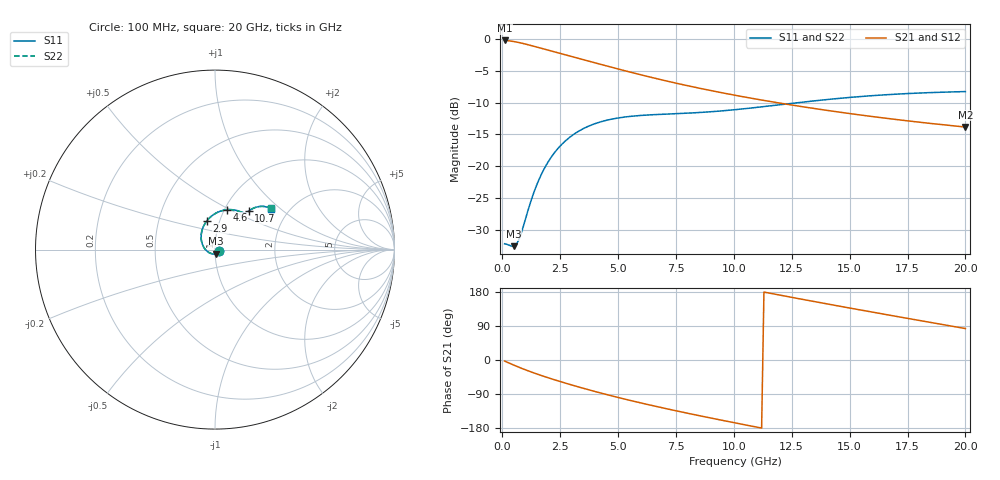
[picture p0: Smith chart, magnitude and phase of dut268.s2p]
! Touchstone file exported from HFSS 2023.1.0
!  File:  D:/Users/fzz/RDL_TSV/temp_RDL_TSV_268_1778761477.aedt
!  Generated:  8:39:13 %x4E0B%x5348  5%x6708 14, 2026
!  Design:  RDL_TSV
!  Project:  temp_RDL_TSV_268_1778761477
!  Setup:  Setup1
!  Solution:  Sweep
! Variables:
!  dtsv = 17.69um
!  hbump = 3um
!  htsv = 97.35um
!  ldown = 556.04um
!  lrdl = 457.15um
!  p = 40
!  p1 = 57.31um
!  rhole = 10um
!  subl = 3496.72um
!  t = 450um
!  tdown = 2.38um
!  trdl = 2.77um
!  viad = 10um
!  wdown = 22.89um
!  wrdl = 16.55um
!  xbump = 18um
# GHz S MA R 50.000000
! Terminal data exported
! Port[1] = TM1_1_T1
! Port[2] = TM1_4_T1
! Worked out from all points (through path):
!   200 points, 100 MHz to 20 GHz, reference 50 ohm
!   highest |S21| = -0.23 dB at 100 MHz (marker M1); lowest = -13.8 dB at 20 GHz (marker M2)
!   group delay of S21, straight-line fit = 36 ps
!   lowest |S11| = -32.6 dB at 500 MHz (marker M3), VSWR 1.05, Z = 50.6 - j2.27 ohm
!   |S11| at or under -10 dB: start of sweep to 12.81 GHz
!   |S22| runs from -32.6 to -8.3 dB; largest |S21 - S12| = 9.8e-15
!   S11 on the Smith chart (normalised r, x): 100 MHz: 1.05, -0.01; 2.9 GHz: 0.87, +0.29; 4.6 GHz: 1.03, +0.48; 10.7 GHz: 1.30, +0.61; 20 GHz: 1.61, +0.87
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0.1  0.02449 -12.3  0.9744 -2.8  0.9744 -2.8  0.02449 -12.3
! Gamma 0 0 0 0
! Port Impedance 50 0 50 0
0.5  0.02344 -73.1  0.9555 -13.6  0.9555 -13.6  0.02347 -73.0
0.6  0.02416 -91.7  0.9481 -16.2  0.9481 -16.2  0.0242 -91.6
0.7  0.02597 -110.2  0.9401 -18.7  0.9401 -18.7  0.026 -110.1
1  0.03827 -155.9  0.9128 -25.9  0.9128 -25.9  0.03825 -155.7
1.4  0.06467 167.2  0.8734 -34.9  0.8734 -34.9  0.06455 167.4
1.8  0.09452 143.9  0.8341 -43.3  0.8341 -43.3  0.09432 144.1
2.3  0.1306 123.3  0.7876 -53.1  0.7876 -53.1  0.1303 123.5
2.9  0.1679 105.2  0.7358 -64.2  0.7358 -64.2  0.1675 105.3
3.5  0.1972 91.4  0.6875 -74.7  0.6875 -74.7  0.1968 91.6
4.6  0.2316 73.5  0.6076 -92.7  0.6076 -92.7  0.231 73.6
5.7  0.248 62.1  0.5388 -109.3  0.5388 -109.3  0.2474 62.2
6.8  0.2553 55.3  0.4811 -124.7  0.4811 -124.7  0.2547 55.4
8.3  0.2627 50.9  0.4178 -144.3  0.4178 -144.3  0.2622 51.0
10.1  0.2785 49.1  0.3596 -166.5  0.3596 -166.5  0.2781 49.3
10.7  0.2859 48.8  0.3434 -173.7  0.3434 -173.7  0.2855 48.9
12  0.3042 47.8  0.3128 171.1  0.3128 171.1  0.304 48.0
13.4  0.3251 46.2  0.2852 155.1  0.2852 155.1  0.325 46.4
15  0.3471 43.8  0.2591 137.2  0.2591 137.2  0.347 44.0
16.7  0.3656 41.0  0.2363 118.5  0.2363 118.5  0.3656 41.1
18.3  0.3777 38.5  0.2186 101.2  0.2186 101.2  0.3779 38.7
20  0.3859 36.3  0.2031 83.0  0.2031 83.0  0.386 36.5
